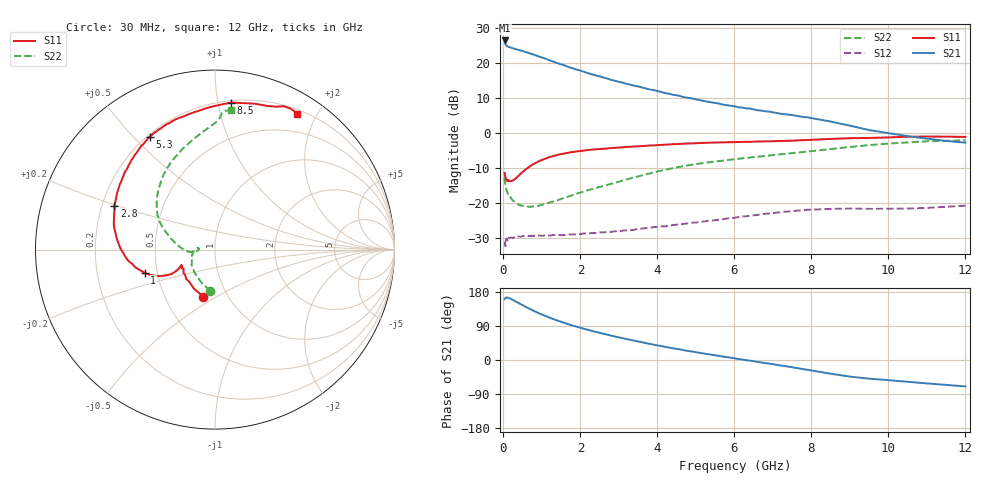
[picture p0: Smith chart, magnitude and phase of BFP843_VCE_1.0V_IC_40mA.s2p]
! Infineon Technologies  Discrete & RF Semiconductors
! BFP843
! VCE =  1.0 V,  IC =  40 mA
! Common Emitter S-Parameters:  Aug 2013
# GHz  S  MA  R  50
!  f  S11  S21  S12  S22
! GHz  MAG  ANG  MAG  ANG  MAG  ANG  MAG  ANG
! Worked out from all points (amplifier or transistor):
!   103 points, 30 MHz to 12 GHz, reference 50 ohm
!   highest |S21| = 26.4 dB at 30 MHz (marker M1)
!   |S21| within 3 dB of that: start of sweep to 486.1 MHz
!   unconditionally stable (mu >= 1): start of sweep to end of sweep
!   at 400 MHz: K = 1.18, MAG = 24.1 dB, |S12| = -29.6 dB
!   at 3.7 GHz: K = 1.57, MAG = 15.5 dB, |S12| = -27.2 dB
!   at 12 GHz: K = 1.08, MAG = 7.2 dB, |S12| = -20.8 dB
!   S11 on the Smith chart (normalised r, x): 30 MHz: 0.77, -0.44; 1 GHz: 0.42, -0.13; 2.8 GHz: 0.25, +0.20; 5.3 GHz: 0.21, +0.56; 8.5 GHz: 0.21, +1.09; 12 GHz: 0.26, +1.75
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0.03  0.2698 -103.9  21.01 160.6  0.0259 27.7  0.2311 -96.4
0.04  0.2474 -118.4  19.56 161.6  0.0275 24.5  0.1986 -112.4
0.05  0.2306 -127.7  18.75 163.7  0.0242 11.8  0.1768 -126.4
0.07  0.2176 -139.7  17.81 164.7  0.0293 18.6  0.1594 -140.2
0.13  0.2082 -152.0  17.07 164.2  0.0294 13.2  0.1338 -165.9
0.4  0.2465 -151.2  15.38 150.0  0.0333 8.3  0.0942 175.0
0.6  0.309 -152.3  14.23 139.2  0.0337 5.7  0.089 176.6
0.8  0.3646 -156.5  13.13 129.2  0.0339 7.3  0.0896 179.9
1  0.4126 -161.8  11.97 120.0  0.034 7.2  0.0941 -177.8
1.2  0.4534 -167.3  10.94 111.7  0.0342 7.3  0.102 -175.1
1.5  0.5005 -175.3  9.554 100.7  0.0347 9.6  0.1146 -173.6
1.7  0.5262 179.5  8.724 93.9  0.0357 10.4  0.1241 -173.6
2.1  0.5622 170.5  7.451 82.2  0.0369 12.8  0.1465 -175.4
2.5  0.59 162.3  6.449 71.7  0.0381 13.5  0.1698 -179.4
2.8  0.6112 156.4  5.73 64.3  0.0386 15.6  0.1882 177.4
3.5  0.6455 144.1  4.631 48.8  0.043 17.5  0.2405 167.7
4.1  0.6765 134.4  3.86 36.7  0.0465 18.5  0.2902 160.4
5.3  0.727 120.1  2.807 15.6  0.0556 17.8  0.3795 147.9
6.1  0.7452 112.6  2.337 2.8  0.063 15.7  0.4282 139.1
8.5  0.8242 83.8  1.458 -36.2  0.0825 -3.9  0.5897 107.9
10.5  0.8863 64.3  0.903 -57.5  0.0834 -15.5  0.734 88.0
12  0.8812 58.8  0.728 -69.7  0.0917 -22.2  0.7836 83.5
